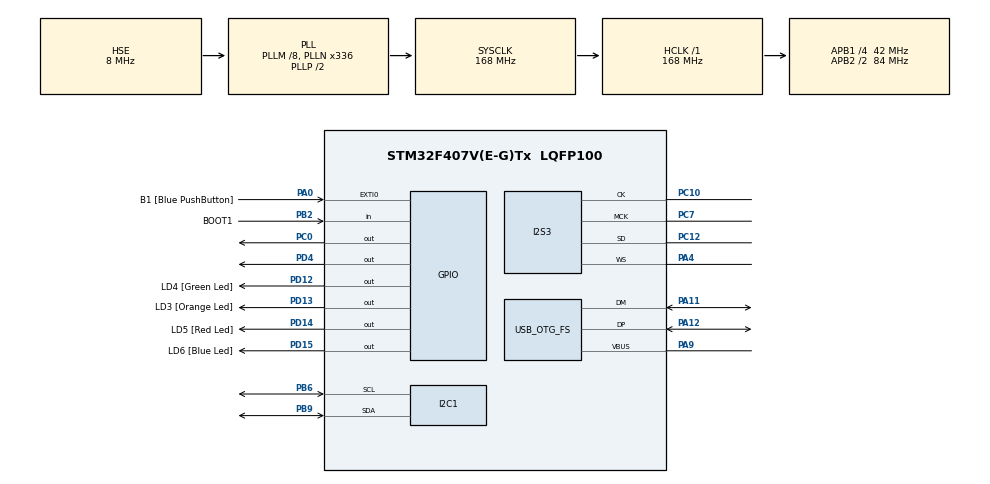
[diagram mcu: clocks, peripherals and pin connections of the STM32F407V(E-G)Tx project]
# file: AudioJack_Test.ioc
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Dma.Request0=SPI3_TX
Dma.SPI3_TX.0.Direction=DMA_MEMORY_TO_PERIPH
Dma.SPI3_TX.0.FIFOMode=DMA_FIFOMODE_ENABLE
Dma.SPI3_TX.0.FIFOThreshold=DMA_FIFO_THRESHOLD_FULL
Dma.SPI3_TX.0.Instance=DMA1_Stream5
Dma.SPI3_TX.0.MemBurst=DMA_MBURST_SINGLE
Dma.SPI3_TX.0.MemDataAlignment=DMA_MDATAALIGN_HALFWORD
Dma.SPI3_TX.0.MemInc=DMA_MINC_ENABLE
Dma.SPI3_TX.0.Mode=DMA_CIRCULAR
Dma.SPI3_TX.0.PeriphBurst=DMA_PBURST_SINGLE
Dma.SPI3_TX.0.PeriphDataAlignment=DMA_PDATAALIGN_HALFWORD
Dma.SPI3_TX.0.PeriphInc=DMA_PINC_DISABLE
Dma.SPI3_TX.0.Priority=DMA_PRIORITY_LOW
I2S3.AudioFreq=I2S_AUDIOFREQ_44K
I2S3.ErrorAudioFreq=0.24 %
I2S3.FullDuplexMode=I2S_FULLDUPLEXMODE_DISABLE
I2S3.Instance=SPI$Index
I2S3.RealAudioFreq=44.108 KHz
I2S3.VirtualMode=I2S_MODE_MASTER
Mcu.Family=STM32F4
Mcu.Name=STM32F407V(E-G)Tx
Mcu.Package=LQFP100
NVIC.DMA1_Stream5_IRQn=true\:0\:0\:false\:false\:true\:false\:true\:true
NVIC.OTG_FS_IRQn=true\:0\:0\:false\:false\:true\:false\:true\:true
NVIC.PriorityGroup=NVIC_PRIORITYGROUP_0
PA0-WKUP.GPIO_Label=B1 [Blue PushButton]
PA0-WKUP.GPIO_ModeDefaultEXTI=GPIO_MODE_EVT_RISING
PA0-WKUP.GPIO_PuPd=GPIO_NOPULL
PA0-WKUP.Signal=GPXTI0
PA11.Mode=Host_Only
PA11.Signal=USB_OTG_FS_DM
PA12.Mode=Host_Only
PA12.Signal=USB_OTG_FS_DP
PA4.Mode=Half_Duplex_Master
PA4.Signal=I2S3_WS
PA9.Mode=Activate_VBUS
PA9.Signal=USB_OTG_FS_VBUS
PB2.GPIO_Label=BOOT1
PB2.GPIO_Mode=GPIO_MODE_INPUT
PB2.GPIO_PuPd=GPIO_NOPULL
PB2.Signal=GPIO_Input
PB6.Mode=I2C
PB6.Signal=I2C1_SCL
PB9.Mode=I2C
PB9.Signal=I2C1_SDA
PC0.Signal=GPIO_Output
PC10.Mode=Half_Duplex_Master
PC10.Signal=I2S3_CK
PC12.Mode=Half_Duplex_Master
PC12.Signal=I2S3_SD
PC14-OSC32_IN.GPIO_Label=PC14-OSC32_IN
PC14-OSC32_IN.Mode=LSE-External-Oscillator
PC14-OSC32_IN.Signal=RCC_OSC32_IN
PC15-OSC32_OUT.GPIO_Label=PC15-OSC32_OUT
PC15-OSC32_OUT.Mode=LSE-External-Oscillator
PC15-OSC32_OUT.Signal=RCC_OSC32_OUT
PC7.Mode=Master_Clock_Activated
PC7.Signal=I2S3_MCK
PD12.GPIO_Label=LD4 [Green Led]
PD12.GPIO_PuPd=GPIO_NOPULL
PD12.GPIO_Speed=GPIO_SPEED_FREQ_LOW
PD12.Signal=GPIO_Output
PD13.GPIO_Label=LD3 [Orange Led]
PD13.GPIO_PuPd=GPIO_NOPULL
PD13.GPIO_Speed=GPIO_SPEED_FREQ_LOW
PD13.Signal=GPIO_Output
PD14.GPIO_Label=LD5 [Red Led]
PD14.GPIO_PuPd=GPIO_NOPULL
PD14.GPIO_Speed=GPIO_SPEED_FREQ_LOW
PD14.Signal=GPIO_Output
PD15.GPIO_Label=LD6 [Blue Led]
PD15.GPIO_PuPd=GPIO_NOPULL
PD15.GPIO_Speed=GPIO_SPEED_FREQ_LOW
PD15.Signal=GPIO_Output
PD4.Signal=GPIO_Output
PH0-OSC_IN.GPIO_Label=PH0-OSC_IN
PH0-OSC_IN.Mode=HSE-External-Oscillator
PH0-OSC_IN.Signal=RCC_OSC_IN
PH1-OSC_OUT.GPIO_Label=PH1-OSC_OUT
PH1-OSC_OUT.Mode=HSE-External-Oscillator
PH1-OSC_OUT.Signal=RCC_OSC_OUT
ProjectManager.HeapSize=0x2000
ProjectManager.StackSize=0x2000
ProjectManager.TargetToolchain=STM32CubeIDE
RCC.48MHZClocksFreq_Value=48000000
RCC.AHBFreq_Value=168000000
RCC.APB1CLKDivider=RCC_HCLK_DIV4
RCC.APB1Freq_Value=42000000
RCC.APB1TimFreq_Value=84000000
RCC.APB2CLKDivider=RCC_HCLK_DIV2
RCC.APB2Freq_Value=84000000
RCC.APB2TimFreq_Value=168000000
RCC.CortexFreq_Value=168000000
RCC.HCLKFreq_Value=168000000
RCC.HSE_VALUE=8000000
RCC.HSI_VALUE=16000000
RCC.PLLI2SN=271
RCC.PLLI2SR=6
RCC.PLLM=8
RCC.PLLN=336
RCC.PLLQ=7
RCC.SYSCLKFreq_VALUE=168000000
RCC.SYSCLKSource=RCC_SYSCLKSOURCE_PLLCLK
RCC.VCOOutputFreq_Value=336000000
USB_HOST.BSP.number=1
USB_HOST.USBH_HandleTypeDef-MSC_FS=hUsbHostFS
USB_HOST.VirtualModeFS=Msc
USB_HOST0.BSP.STBoard=false
USB_HOST0.BSP.api=Unknown
USB_HOST0.BSP.instance=I2C1
USB_HOST0.BSP.ip=I2C
USB_HOST0.BSP.mode=I2C
USB_HOST0.BSP.name=Drive_VBUS_FS
USB_HOST0.BSP.solution=I2C1
USB_OTG_FS.VirtualMode=Host_Only
USB_OTG_FS.phy_itface=HCD_PHY_EMBEDDED
VP_FATFS_VS_USB.Mode=USB
VP_USB_HOST_VS_USB_HOST_MSC_FS.Mode=MSC_FS
board=STM32F407G-DISC1

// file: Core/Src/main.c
/* USER CODE BEGIN Header */
/**
  ******************************************************************************
  * @file           : main.c
  * @brief          : Main program body
  ******************************************************************************
  * @attention
  *
  * Copyright (c) 2023 STMicroelectronics.
  * All rights reserved.
  *
  * This software is licensed under terms that can be found in the LICENSE file
  * in the root directory of this software component.
  * If no LICENSE file comes with this software, it is provided AS-IS.
  *
  ******************************************************************************
  */
/* USER CODE END Header */
#include "main.h"
#include "fatfs.h"
#include "usb_host.h"

/* USER CODE BEGIN Includes */
#include "audioI2S.h"
#include "MY_CS43L22.h"
#include "wav_player.h"

//#include "tchar.h"
//use wavconverter to convert anything to WAV (16-bit resolution)
//otherwise change I2S frame format and DMA detail length and frame buffer
//make sure added .h and .c files are in the right places

/* USER CODE END Includes */

/* USER CODE BEGIN PTD */
extern ApplicationTypeDef Appli_state;

/* USER CODE END PTD */

I2C_HandleTypeDef hi2c1;

I2S_HandleTypeDef hi2s3;
DMA_HandleTypeDef hdma_spi3_tx;

/* USER CODE BEGIN PV */
//#define WAV_FILE1 _T("STM32LightDagger/SaberSound1.wav")
//#define WAV_FILE1 "STM32LightDagger/SaberSound1.wav"
#define WAV_FILE1 "Audio/Sound1.wav"
//do your slashes for files in the correct direction?

/* USER CODE END PV */

void SystemClock_Config(void);
static void MX_GPIO_Init(void);
static void MX_DMA_Init(void);
static void MX_I2C1_Init(void);
static void MX_I2S3_Init(void);
void MX_USB_HOST_Process(void);

int main(void)
{

  /* MCU Configuration--------------------------------------------------------*/

  /* Reset of all peripherals, Initializes the Flash interface and the Systick. */
  HAL_Init();

  /* Configure the system clock */
  SystemClock_Config();

  /* Initialize all configured peripherals */
  MX_GPIO_Init();
  MX_DMA_Init();
  MX_I2C1_Init();
  MX_I2S3_Init();
  MX_FATFS_Init();
  MX_USB_HOST_Init();
  /* USER CODE BEGIN 2 */
  CS43_Init(hi2c1, MODE_I2S);
  CS43_SetVolume(150); //0-255
  CS43_Enable_RightLeft(CS43_RIGHT_LEFT); //do I need to change for speaker?

  audioI2S_setHandle(&hi2s3);

  bool isSdCardMounted = 0;
  bool pauseResumeToggle = 0;

  /* USER CODE END 2 */

  /* Infinite loop */
  while (1)
  {
    MX_USB_HOST_Process();

    /* USER CODE BEGIN 3 */

    //test the USB around 22min in vid
    if(Appli_state == APPLICATION_START){
    	HAL_GPIO_WritePin(GPIOD, GPIO_PIN_12, GPIO_PIN_SET); //green
    }
    else if(Appli_state == APPLICATION_DISCONNECT){
		HAL_GPIO_WritePin(GPIOD, GPIO_PIN_12, GPIO_PIN_RESET);
		f_mount(NULL, (TCHAR const*)"", 0);
		isSdCardMounted = 0;
    }

    if(Appli_state == APPLICATION_READY){
    	if(!isSdCardMounted){
    		f_mount(&USBHFatFS, (const TCHAR*)USBHPath, 0);
    		isSdCardMounted = 1;
    	}
    //should include the whole next thing?}

		if(HAL_GPIO_ReadPin(GPIOA, GPIO_PIN_0)){ //checking button for start
			//printf("b4 press"); need other stuff to actual print to console to use for debugging
			HAL_GPIO_WritePin(GPIOD, GPIO_PIN_13, GPIO_PIN_SET); //playing a file; orange
			HAL_Delay(500);
			//printf("after delay");
			wavPlayer_fileSelect(WAV_FILE1);
			wavPlayer_play();	//starts
			while(!wavPlayer_isFinished()){	//infinite while there's file left
				wavPlayer_process(); //continuous
				if(HAL_GPIO_ReadPin(GPIOA, GPIO_PIN_0)){
					pauseResumeToggle ^= 1;
					if(pauseResumeToggle){ //pause
						HAL_GPIO_WritePin(GPIOD, GPIO_PIN_14, GPIO_PIN_SET); //Red LED
						wavPlayer_pause();
						HAL_Delay(200);
					}
					else{	//resume
						HAL_GPIO_WritePin(GPIOD, GPIO_PIN_14, GPIO_PIN_RESET);
						HAL_Delay(1000); //looking for hold
						if(HAL_GPIO_ReadPin(GPIOA, GPIO_PIN_0)){ //still pressed?
							wavPlayer_stop(); //completely exit file
						}
						//{	//why?
						wavPlayer_resume();
						//}

					}
				}
			}
			HAL_GPIO_WritePin(GPIOD, GPIO_PIN_13, GPIO_PIN_RESET);
			HAL_Delay(1000); //don't accidentally press again
		}

    }

  }
  /* USER CODE END 3 */
}

void SystemClock_Config(void)
{
  RCC_OscInitTypeDef RCC_OscInitStruct = {0};
  RCC_ClkInitTypeDef RCC_ClkInitStruct = {0};

  /** Configure the main internal regulator output voltage
  */
  __HAL_RCC_PWR_CLK_ENABLE();
  __HAL_PWR_VOLTAGESCALING_CONFIG(PWR_REGULATOR_VOLTAGE_SCALE1);

  /** Initializes the RCC Oscillators according to the specified parameters
  * in the RCC_OscInitTypeDef structure.
  */
  RCC_OscInitStruct.OscillatorType = RCC_OSCILLATORTYPE_HSE;
  RCC_OscInitStruct.HSEState = RCC_HSE_ON;
  RCC_OscInitStruct.PLL.PLLState = RCC_PLL_ON;
  RCC_OscInitStruct.PLL.PLLSource = RCC_PLLSOURCE_HSE;
  RCC_OscInitStruct.PLL.PLLM = 8;
  RCC_OscInitStruct.PLL.PLLN = 336;
  RCC_OscInitStruct.PLL.PLLP = RCC_PLLP_DIV2;
  RCC_OscInitStruct.PLL.PLLQ = 7;
  if (HAL_RCC_OscConfig(&RCC_OscInitStruct) != HAL_OK)
  {
    Error_Handler();
  }

  /** Initializes the CPU, AHB and APB buses clocks
  */
  RCC_ClkInitStruct.ClockType = RCC_CLOCKTYPE_HCLK|RCC_CLOCKTYPE_SYSCLK
                              |RCC_CLOCKTYPE_PCLK1|RCC_CLOCKTYPE_PCLK2;
  RCC_ClkInitStruct.SYSCLKSource = RCC_SYSCLKSOURCE_PLLCLK;
  RCC_ClkInitStruct.AHBCLKDivider = RCC_SYSCLK_DIV1;
  RCC_ClkInitStruct.APB1CLKDivider = RCC_HCLK_DIV4;
  RCC_ClkInitStruct.APB2CLKDivider = RCC_HCLK_DIV2;

  if (HAL_RCC_ClockConfig(&RCC_ClkInitStruct, FLASH_LATENCY_5) != HAL_OK)
  {
    Error_Handler();
  }
}

static void MX_I2C1_Init(void)
{

  hi2c1.Instance = I2C1;
  hi2c1.Init.ClockSpeed = 100000;
  hi2c1.Init.DutyCycle = I2C_DUTYCYCLE_2;
  hi2c1.Init.OwnAddress1 = 0;
  hi2c1.Init.AddressingMode = I2C_ADDRESSINGMODE_7BIT;
  hi2c1.Init.DualAddressMode = I2C_DUALADDRESS_DISABLE;
  hi2c1.Init.OwnAddress2 = 0;
  hi2c1.Init.GeneralCallMode = I2C_GENERALCALL_DISABLE;
  hi2c1.Init.NoStretchMode = I2C_NOSTRETCH_DISABLE;
  if (HAL_I2C_Init(&hi2c1) != HAL_OK)
  {
    Error_Handler();
  }

}

static void MX_I2S3_Init(void)
{

  hi2s3.Instance = SPI3;
  hi2s3.Init.Mode = I2S_MODE_MASTER_TX;
  hi2s3.Init.Standard = I2S_STANDARD_PHILIPS;
  hi2s3.Init.DataFormat = I2S_DATAFORMAT_16B;
  hi2s3.Init.MCLKOutput = I2S_MCLKOUTPUT_ENABLE;
  hi2s3.Init.AudioFreq = I2S_AUDIOFREQ_44K;
  hi2s3.Init.CPOL = I2S_CPOL_LOW;
  hi2s3.Init.ClockSource = I2S_CLOCK_PLL;
  hi2s3.Init.FullDuplexMode = I2S_FULLDUPLEXMODE_DISABLE;
  if (HAL_I2S_Init(&hi2s3) != HAL_OK)
  {
    Error_Handler();
  }

}

static void MX_DMA_Init(void)
{

  /* DMA controller clock enable */
  __HAL_RCC_DMA1_CLK_ENABLE();

  /* DMA interrupt init */
  /* DMA1_Stream5_IRQn interrupt configuration */
  HAL_NVIC_SetPriority(DMA1_Stream5_IRQn, 0, 0);
  HAL_NVIC_EnableIRQ(DMA1_Stream5_IRQn);

}

static void MX_GPIO_Init(void)
{
  GPIO_InitTypeDef GPIO_InitStruct = {0};

  /* GPIO Ports Clock Enable */
  __HAL_RCC_GPIOC_CLK_ENABLE();
  __HAL_RCC_GPIOH_CLK_ENABLE();
  __HAL_RCC_GPIOA_CLK_ENABLE();
  __HAL_RCC_GPIOB_CLK_ENABLE();
  __HAL_RCC_GPIOD_CLK_ENABLE();

  /*Configure GPIO pin Output Level */
  HAL_GPIO_WritePin(GPIOC, GPIO_PIN_0, GPIO_PIN_RESET);

  /*Configure GPIO pin Output Level */
  HAL_GPIO_WritePin(GPIOD, LD4_Pin|LD3_Pin|LD5_Pin|LD6_Pin
                          |GPIO_PIN_4, GPIO_PIN_RESET);

  /*Configure GPIO pin : PC0 */
  GPIO_InitStruct.Pin = GPIO_PIN_0;
  GPIO_InitStruct.Mode = GPIO_MODE_OUTPUT_PP;
  GPIO_InitStruct.Pull = GPIO_NOPULL;
  GPIO_InitStruct.Speed = GPIO_SPEED_FREQ_LOW;
  HAL_GPIO_Init(GPIOC, &GPIO_InitStruct);

  /*Configure GPIO pin : B1_Pin */
  GPIO_InitStruct.Pin = B1_Pin;
  GPIO_InitStruct.Mode = GPIO_MODE_EVT_RISING;
  GPIO_InitStruct.Pull = GPIO_NOPULL;
  HAL_GPIO_Init(B1_GPIO_Port, &GPIO_InitStruct);

  /*Configure GPIO pin : BOOT1_Pin */
  GPIO_InitStruct.Pin = BOOT1_Pin;
  GPIO_InitStruct.Mode = GPIO_MODE_INPUT;
  GPIO_InitStruct.Pull = GPIO_NOPULL;
  HAL_GPIO_Init(BOOT1_GPIO_Port, &GPIO_InitStruct);

  /*Configure GPIO pins : LD4_Pin LD3_Pin LD5_Pin LD6_Pin
                           PD4 */
  GPIO_InitStruct.Pin = LD4_Pin|LD3_Pin|LD5_Pin|LD6_Pin
                          |GPIO_PIN_4;
  GPIO_InitStruct.Mode = GPIO_MODE_OUTPUT_PP;
  GPIO_InitStruct.Pull = GPIO_NOPULL;
  GPIO_InitStruct.Speed = GPIO_SPEED_FREQ_LOW;
  HAL_GPIO_Init(GPIOD, &GPIO_InitStruct);

}

void Error_Handler(void)
{
  __disable_irq();
  while (1)
  {
  }
}
